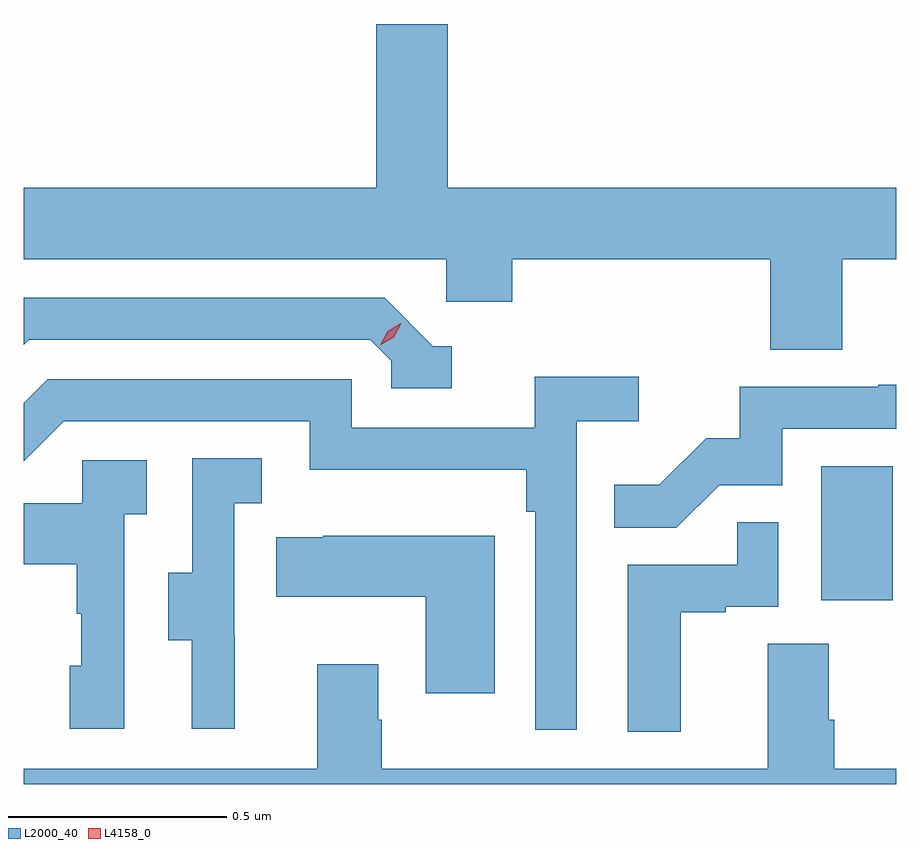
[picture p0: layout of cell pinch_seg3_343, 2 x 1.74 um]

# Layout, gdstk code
import gdstk
lib = gdstk.Library(unit=1e-6, precision=1e-09)
def R(c, l, rs):  # rectangles x0, y0, x1, y1
    for r in rs: c.add(gdstk.rectangle(r[:2], r[2:], *l))
def P(c, l, *ps):  # polygons
    for p in ps: c.add(gdstk.Polygon(p, *l))
L2000_40 = (2000, 40)
L4158_0 = (4158, 0)

pinch_seg3_343 = lib.new_cell('pinch_seg3_343')
R(pinch_seg3_343, L2000_40, [(957.236,726.774,957.4,727.081)])
P(pinch_seg3_343, L2000_40, [(957.284,727.556),(957.408,727.556),(957.408,727.72),(956.38,727.72),(956.38,728.095),(956.216,728.095),(956.216,727.72),(955.408,727.72),(955.408,727.556),(956.376,727.556),(956.376,727.458),(956.528,727.458),(956.528,727.556),(957.119,727.556),(957.119,727.348),(957.284,727.348)],
  [(956.389,727.356),(956.346,727.356),(956.235,727.467),(955.408,727.467),(955.408,727.36),(955.419,727.371),(956.202,727.371),(956.25,727.323),(956.25,727.26),(956.389,727.26)],
  [(956.676,727.184),(956.818,727.184),(956.818,727.286),(956.579,727.286),(956.579,727.17),(956.16,727.17),(956.16,727.281),(955.463,727.281),(955.408,727.226),(955.408,727.093),(955.5,727.185),(956.064,727.185),(956.064,727.073),(956.56,727.073),(956.56,726.977),(956.58,726.977),(956.58,726.477),(956.676,726.477)],
  [(957.002,727.038),(957.147,727.038),(957.147,727.167),(957.408,727.167),(957.408,727.268),(957.367,727.268),(957.367,727.263),(957.049,727.263),(957.049,727.146),(956.972,727.146),(956.865,727.039),(956.761,727.039),(956.761,726.94),(956.904,726.94)],
  [(955.892,726.693),(955.89,726.693),(955.89,726.997),(955.954,726.997),(955.954,727.1),(955.794,727.1),(955.794,726.837),(955.739,726.837),(955.739,726.682),(955.793,726.682),(955.793,726.48),(955.892,726.48)],
  [(955.638,726.971),(955.69,726.971),(955.69,727.095),(955.542,727.095),(955.542,726.997),(955.408,726.997),(955.408,726.857),(955.53,726.857),(955.53,726.743),(955.54,726.743),(955.54,726.624),(955.514,726.624),(955.514,726.48),(955.638,726.48)],
  [(956.914,726.747),(957.017,726.747),(957.017,726.759),(957.138,726.759),(957.138,726.953),(957.043,726.953),(957.043,726.855),(956.792,726.855),(956.792,726.473),(956.914,726.473)],
  [(956.488,726.922),(956.095,726.922),(956.095,726.919),(955.987,726.919),(955.987,726.782),(956.33,726.782),(956.33,726.561),(956.488,726.561)],
  [(957.408,726.388),(957.266,726.388),(957.266,726.5),(957.253,726.5),(957.253,726.674),(957.113,726.674),(957.113,726.388),(956.229,726.388),(956.229,726.5),(956.221,726.5),(956.221,726.628),(956.081,726.628),(956.081,726.388),(955.408,726.388),(955.408,726.353),(957.408,726.353)])
P(pinch_seg3_343, L4158_0, [(956.225,727.359),(956.225,727.359),(956.242,727.391),(956.272,727.409),(956.273,727.409),(956.273,727.409),(956.256,727.377),(956.225,727.359)])

lib.write_gds('pinch_seg3_343.gds')
